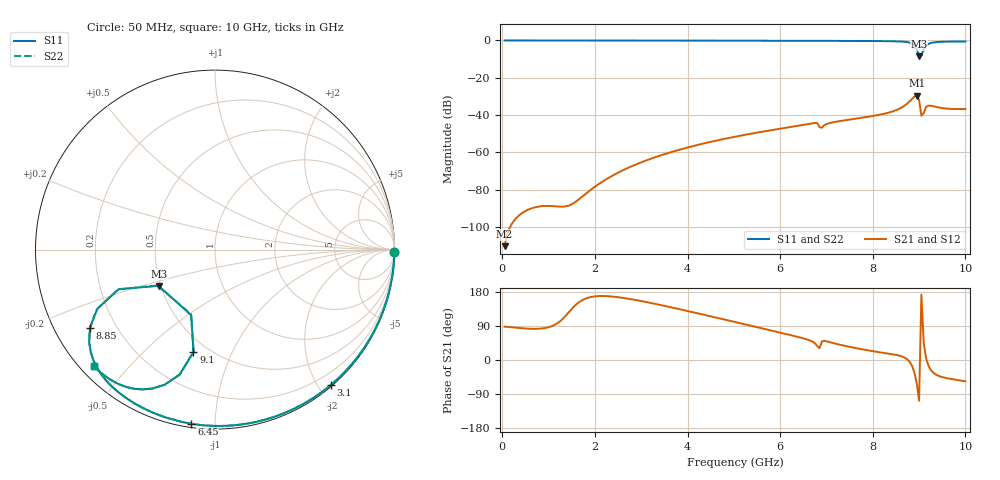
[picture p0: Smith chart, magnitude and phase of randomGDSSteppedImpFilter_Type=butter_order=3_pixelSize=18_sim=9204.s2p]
! freq	dB(S11)	phase(S11)	dB(S12)	phase(S12)
!  dB(S21)	phase(S21)	dB(S22)	phase(S22)
!S-par simulation data
#  GHz  S  DB  R 50
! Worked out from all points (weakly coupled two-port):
!   200 points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, 50 MHz to 10 GHz, reference 50 ohm
!   highest |S21| = -29.69 dB at 8.95 GHz (marker M1); lowest = -110.4 dB at 50 MHz (marker M2)
!   lowest |S11| = -8.6 dB at 9 GHz (marker M3), VSWR 2.19, Z = 24.4 - j11.5 ohm
!   |S11| at or under -10 dB: nowhere
!   |S22| runs from -8.4 to 0.0 dB; largest |S21 - S12| = 0
!   S11 on the Smith chart (normalised r, x): 50 MHz: open; 3.1 GHz: 0.02, -2.17; 6.45 GHz: 0.02, -0.87; 8.85 GHz: 0.11, -0.28; 9.1 GHz: 0.42, -0.72; 10 GHz: 0.04, -0.40
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0.05  -0.01 -0.8  -110.37 88.1  -110.37 88.1  -0.01 -0.8
1.75  -0.04 -28.3  -83.30 159.4  -83.30 159.4  -0.04 -28.3
1.9  -0.04 -30.7  -80.32 165.9  -80.32 165.9  -0.04 -30.7
2.45  -0.05 -39.4  -71.58 166.5  -71.58 166.5  -0.05 -39.4
3.1  -0.06 -49.4  -64.44 153.2  -64.44 153.2  -0.06 -49.4
3.4  -0.07 -53.9  -61.83 145.6  -61.83 145.6  -0.07 -53.9
5.05  -0.12 -78.1  -51.53 99.6  -51.53 99.6  -0.12 -78.1
6.45  -0.18 -97.7  -45.57 58.8  -45.57 58.8  -0.18 -97.7
6.7  -0.20 -101.2  -44.46 48.4  -44.46 48.4  -0.20 -101.2
6.8  -0.21 -102.6  -44.34 36.9  -44.34 36.9  -0.21 -102.6
6.9  -0.22 -103.9  -46.86 48.7  -46.86 48.7  -0.22 -103.9
7.1  -0.23 -106.7  -44.12 46.0  -44.12 46.0  -0.23 -106.7
8.35  -0.40 -126.8  -38.68 16.6  -38.68 16.6  -0.40 -126.8
8.65  -0.65 -135.5  -35.57 8.5  -35.57 8.5  -0.65 -135.5
8.85  -1.71 -148.1  -31.32 -16.0  -31.32 -16.0  -1.69 -147.9
8.95  -4.75 -157.7  -29.69 -61.9  -29.69 -61.9  -4.65 -157.7
9  -8.56 -147.2  -31.96 -107.4  -31.96 -107.4  -8.43 -148.2
9.05  -8.19 -109.7  -40.38 172.6  -40.38 172.6  -8.33 -110.6
9.1  -4.66 -101.9  -39.02 45.9  -39.02 45.9  -4.76 -101.8
9.15  -2.80 -105.8  -35.71 5.2  -35.71 5.2  -2.84 -105.7
9.3  -1.13 -117.5  -35.29 -32.9  -35.29 -32.9  -1.14 -117.4
10  -0.57 -136.2  -36.75 -56.2  -36.75 -56.2  -0.57 -136.2
